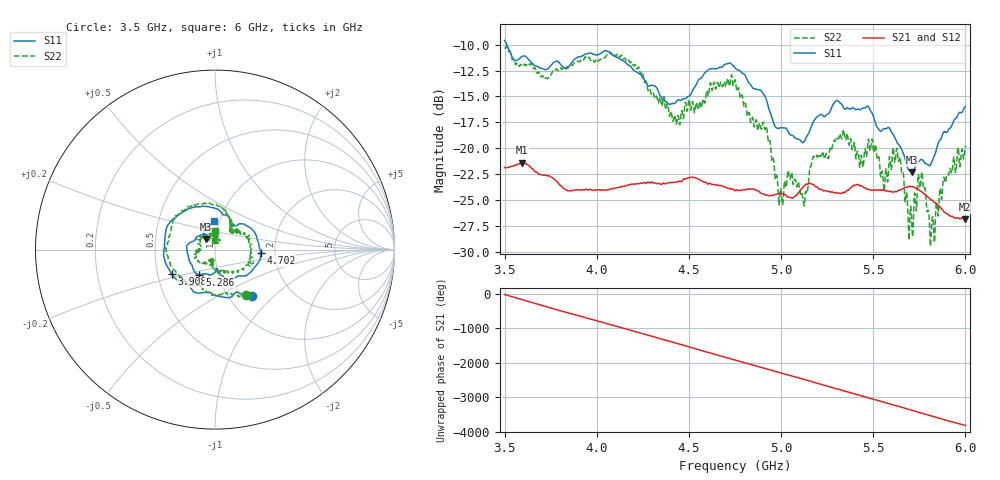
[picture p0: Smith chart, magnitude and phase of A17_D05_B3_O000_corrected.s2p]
! Created with skrf 1.9.0 (http://scikit-rf.org).
# Hz S RI R 50.0
!freq ReS11 ImS11 ReS21 ImS21 ReS12 ImS12 ReS22 ImS22
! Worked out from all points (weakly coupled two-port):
!   1601 points, 3.5 GHz to 6 GHz, reference 50 ohm
!   highest |S21| = -21.41 dB at 3.594 GHz (marker M1); lowest = -26.9 dB at 5.995 GHz (marker M2)
!   lowest |S11| = -22.3 dB at 5.711 GHz (marker M3), VSWR 1.17, Z = 45.1 + j5.36 ohm
!   |S11| at or under -10 dB: 3.512 GHz to end of sweep
!   |S22| runs from -29.5 to -10.1 dB; largest |S21 - S12| = 0.00091
!   S11 on the Smith chart (normalised r, x): 3.5 GHz: 1.27, -0.75; 3.908 GHz: 0.59, -0.18; 4.702 GHz: 1.68, -0.07; 5.286 GHz: 0.81, -0.23; 6 GHz: 0.94, +0.30
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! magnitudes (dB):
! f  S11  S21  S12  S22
! 3.5 GHz  -9.6  -21.9  -21.9  -10.3
! 3.594 GHz  -11.1  -21.4  -21.4  -12.0
! 3.908 GHz  -11.2  -24.0  -24.0  -11.6
! 3.917 GHz  -11.1  -24.1  -24.0  -11.5
! 4.125 GHz  -11.4  -23.8  -23.7  -11.2
! 4.334 GHz  -14.5  -23.4  -23.4  -15.6
! 4.441 GHz  -15.3  -23.3  -23.2  -16.8
! 4.702 GHz  -11.9  -23.8  -23.8  -14.1
! 4.75 GHz  -12.2  -24.1  -24.0  -13.4
! 4.914 GHz  -15.0  -24.5  -24.5  -18.2
! 4.998 GHz  -18.0  -24.4  -24.4  -23.9
! 5.047 GHz  -18.7  -24.8  -24.8  -23.0
! 5.13 GHz  -19.2  -23.6  -23.6  -24.8
! 5.167 GHz  -17.8  -23.5  -23.4  -21.4
! 5.286 GHz  -15.7  -24.3  -24.3  -19.3
! 5.584 GHz  -18.0  -24.2  -24.2  -21.5
! 5.636 GHz  -19.6  -24.1  -24.1  -21.2
! 5.711 GHz  -22.3  -23.7  -23.7  -27.9
! 5.755 GHz  -21.2  -24.1  -24.1  -23.9
! 5.822 GHz  -21.1  -25.1  -25.0  -26.6
! 5.995 GHz  -16.0  -26.9  -26.8  -20.4
! 6 GHz  -16.0  -26.8  -26.8  -19.8
